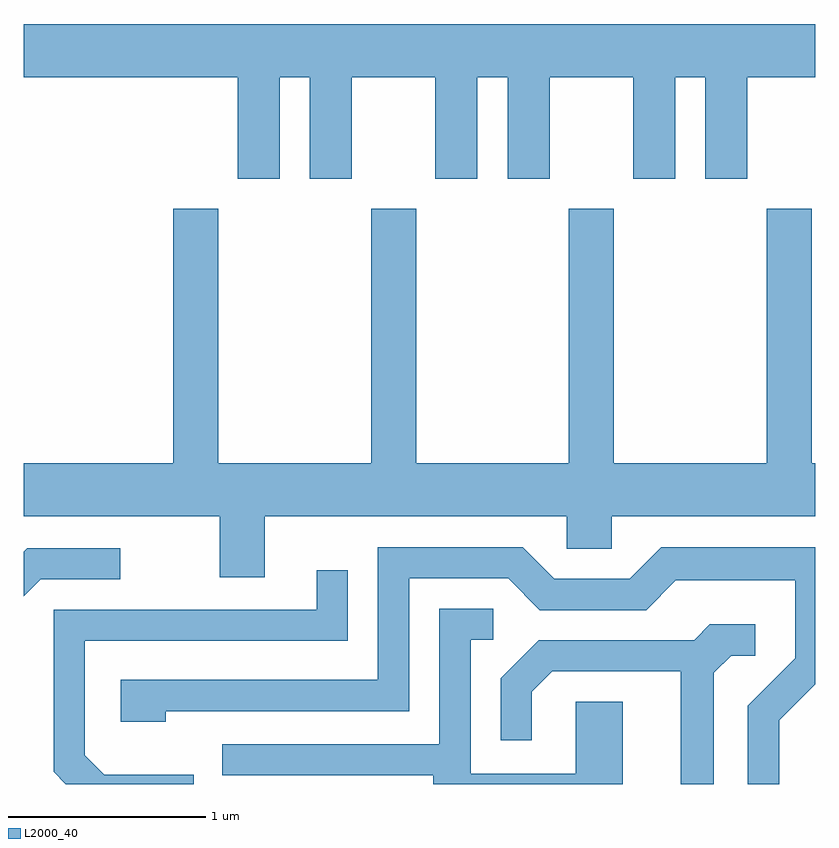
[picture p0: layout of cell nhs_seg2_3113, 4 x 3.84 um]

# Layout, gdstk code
import gdstk
lib = gdstk.Library(unit=1e-6, precision=1e-09)
def P(c, l, *ps):  # polygons
    for p in ps: c.add(gdstk.Polygon(p, *l))
L2000_40 = (2000, 40)

nhs_seg2_3113 = lib.new_cell('nhs_seg2_3113')
P(nhs_seg2_3113, L2000_40, [(276.904,1099.376),(277.056,1099.376),(277.056,1098.861),(277.269,1098.861),(277.269,1099.376),(277.691,1099.376),(277.691,1098.861),(277.904,1098.861),(277.904,1099.376),(278.056,1099.376),(278.056,1098.861),(278.269,1098.861),(278.269,1099.376),(278.691,1099.376),(278.691,1098.861),(278.904,1098.861),(278.904,1099.376),(279.056,1099.376),(279.056,1098.861),(279.269,1098.861),(279.269,1099.376),(279.611,1099.376),(279.611,1099.644),(275.611,1099.644),(275.611,1099.376),(276.691,1099.376),(276.691,1098.861),(276.904,1098.861)],
  [(276.829,1097.156),(278.356,1097.156),(278.356,1096.991),(278.584,1096.991),(278.584,1097.156),(279.611,1097.156),(279.611,1097.424),(279.594,1097.424),(279.594,1098.709),(279.366,1098.709),(279.366,1097.424),(278.594,1097.424),(278.594,1098.709),(278.366,1098.709),(278.366,1097.424),(277.594,1097.424),(277.594,1098.709),(277.366,1098.709),(277.366,1097.424),(276.594,1097.424),(276.594,1098.709),(276.366,1098.709),(276.366,1097.424),(275.611,1097.424),(275.611,1097.156),(276.601,1097.156),(276.601,1096.846),(276.829,1096.846)],
  [(279.429,1096.124),(279.611,1096.306),(279.611,1096.999),(278.834,1096.999),(278.674,1096.839),(278.292,1096.839),(278.132,1096.999),(277.401,1096.999),(277.401,1096.329),(276.101,1096.329),(276.101,1096.116),(276.329,1096.116),(276.329,1096.171),(277.559,1096.171),(277.559,1096.841),(278.059,1096.841),(278.219,1096.681),(278.757,1096.681),(278.907,1096.831),(279.511,1096.831),(279.511,1096.437),(279.271,1096.197),(279.271,1095.802),(279.429,1095.802)],
  [(275.697,1096.836),(276.098,1096.836),(276.098,1096.994),(275.629,1096.994),(275.611,1096.976),(275.611,1096.751)],
  [(276.469,1095.849),(276.017,1095.849),(275.919,1095.947),(275.919,1096.526),(277.249,1096.526),(277.249,1096.883),(277.091,1096.883),(277.091,1096.684),(275.761,1096.684),(275.761,1095.864),(275.823,1095.802),(276.469,1095.802)],
  [(278.639,1096.219),(278.401,1096.219),(278.401,1095.854),(277.869,1095.854),(277.869,1096.531),(277.983,1096.531),(277.983,1096.689),(277.711,1096.689),(277.711,1096.004),(276.613,1096.004),(276.613,1095.846),(277.681,1095.846),(277.681,1095.802),(278.639,1095.802)],
  [(279.099,1096.364),(279.187,1096.451),(279.308,1096.451),(279.308,1096.609),(279.079,1096.609),(278.999,1096.529),(278.214,1096.529),(278.021,1096.337),(278.021,1096.023),(278.179,1096.023),(278.179,1096.269),(278.282,1096.371),(278.931,1096.371),(278.931,1095.802),(279.099,1095.802)])

lib.write_gds('nhs_seg2_3113.gds')
